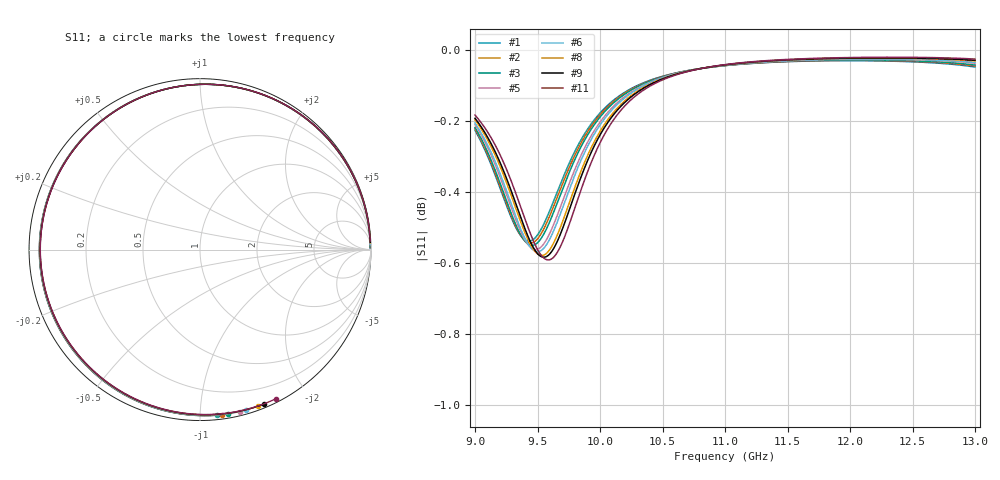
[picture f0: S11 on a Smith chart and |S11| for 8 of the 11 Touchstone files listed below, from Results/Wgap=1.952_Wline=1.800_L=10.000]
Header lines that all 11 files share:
! TOUCHSTONE file generated by CST DESIGN STUDIO
! Project name: C:\Work\MatlabApps\UnitCellOptimizationMatlab\CST\unitcell.cst
! Tree item: Tasks\Sweep1\SPara1\S-Parameters
! Header version: 2024
! Port assignment regex: !\s*Touchstone port\s*([0-9]+)\s*=\s*(CST MWS port|CST DES external port|CST DES block port)\s*(.+)\s* \(\"(.*)\"\)(\s*mode\s*([0-9]+))?.*
! Touchstone port assignment:
! Touchstone port 1 = CST DES external port 1 ("")
# GHz S MA R 50
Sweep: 9 GHz to 13 GHz
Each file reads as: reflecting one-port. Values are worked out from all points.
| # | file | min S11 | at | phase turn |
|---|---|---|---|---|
| 1 | DS_for_MWS-run-0001.s1p | -0.5 dB | 9.431 GHz | -275 deg |
| 2 | DS_for_MWS-run-0002.s1p | -0.5 dB | 9.442 GHz | -277 deg |
| 3 | DS_for_MWS-run-0003.s1p | -0.6 dB | 9.456 GHz | -279 deg |
| 4 | DS_for_MWS-run-0004.s1p | -0.6 dB | 9.47 GHz | -281 deg |
| 5 | DS_for_MWS-run-0005.s1p | -0.6 dB | 9.485 GHz | -282 deg |
| 6 | DS_for_MWS-run-0006.s1p | -0.6 dB | 9.5 GHz | -284 deg |
| 7 | DS_for_MWS-run-0007.s1p | -0.6 dB | 9.516 GHz | -286 deg |
| 8 | DS_for_MWS-run-0008.s1p | -0.6 dB | 9.533 GHz | -288 deg |
| 9 | DS_for_MWS-run-0009.s1p | -0.6 dB | 9.55 GHz | -290 deg |
| 10 | DS_for_MWS-run-0010.s1p | -0.6 dB | 9.568 GHz | -292 deg |
| 11 | DS_for_MWS-run-0011.s1p | -0.6 dB | 9.586 GHz | -294 deg |
